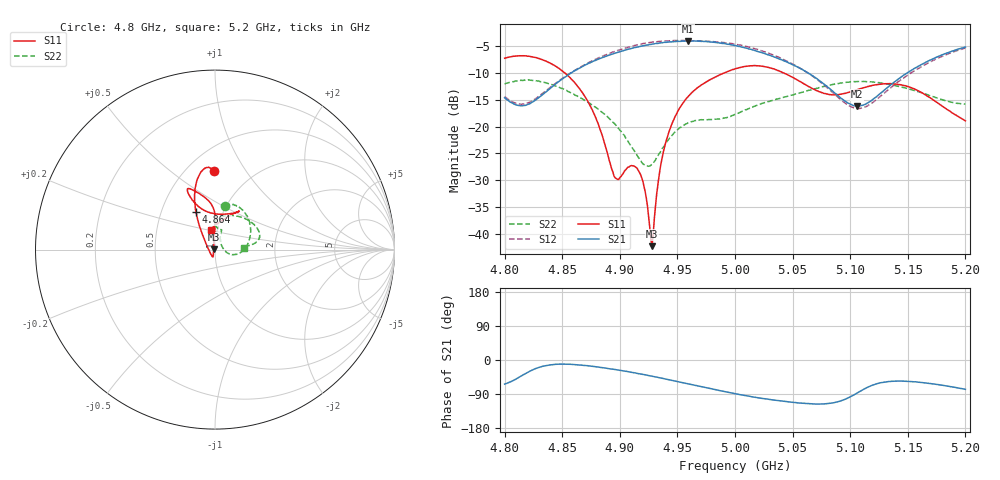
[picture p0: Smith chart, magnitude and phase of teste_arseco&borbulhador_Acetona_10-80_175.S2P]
! Network Analyzer HP8722D
! Hewlett-Packard
! Data name: Linha & Wilkinson
! Saver's name: Rodrigo Anjos
! Comments: Teste da utilização de aquisição
! continua pelo VNA HP8722D
! Time and date: 25/4/2025 16:43
!  Frequency  S11  S21  S12  S22
# HZ  S  MA R 50
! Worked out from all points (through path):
!   401 points, 4.8 GHz to 5.2 GHz, reference 50 ohm
!   highest |S21| = -3.98 dB at 4.959 GHz (marker M1); lowest = -16.2 dB at 5.106 GHz (marker M2)
!   lowest |S11| = -42.4 dB at 4.928 GHz (marker M3), VSWR 1.02, Z = 49.2 + j0.0889 ohm
!   |S11| at or under -10 dB: 4.852 GHz to 4.99 GHz (137.7 MHz wide, 2.8 % of centre); 5.043 GHz to end of sweep
!   |S22| runs from -27.4 to -11.2 dB; largest |S21 - S12| = 1.2
!   S11 on the Smith chart (normalised r, x): 4.8 GHz: 0.67, +0.72; 4.864 GHz: 0.75, +0.33; 5.2 GHz: 0.93, +0.21
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4.8e9  0.4357 90.9  0.1858 -63.7  0.1908 69.6  0.2492 77.3
4.82e9  0.4547 97.2  0.1612 -32.4  0.1664 98.2  0.2712 61.6
4.845e9  0.3619 107.7  0.2541 -11.3  0.2573 119.4  0.238 34.5
4.864e9  0.2341 117.0  0.3479 -12.6  0.3513 121.1  0.1901 12.3
4.867e9  0.2114 118.7  0.3616 -13.7  0.3664 120.8  0.1832 8.8
4.88e9  0.1144 128.7  0.4211 -18.2  0.4309 118.3  0.1488 -4.9
4.896e9  0.03317 -170.0  0.487 -25.0  0.5049 113.4  0.105 -15.2
4.91e9  0.04324 -108.5  0.5379 -32.3  0.5622 107.3  0.06536 -13.3
4.917e9  0.03721 -105.8  0.5591 -36.2  0.5872 103.7  0.05021 -0.6
4.921e9  0.02771 -109.3  0.5717 -38.6  0.5991 101.5  0.04419 12.4
4.926e9  0.01146 -134.9  0.5855 -41.7  0.6107 98.5  0.04284 32.7
4.928e9  0.007629 173.2  0.5897 -42.8  0.6159 97.2  0.04472 40.7
4.934e9  0.03419 100.4  0.6024 -46.6  0.6263 93.4  0.05552 57.2
4.944e9  0.09795 91.1  0.6207 -52.8  0.634 87.1  0.07988 68.4
4.959e9  0.1895 89.8  0.6326 -62.7  0.6367 77.3  0.1081 70.8
5e9  0.3469 109.3  0.5724 -88.9  0.5912 50.9  0.13 88.2
5.029e9  0.3578 115.2  0.4689 -103.6  0.4865 34.2  0.1713 85.8
5.067e9  0.2273 105.7  0.3009 -115.7  0.2983 23.7  0.2214 57.3
5.106e9  0.2213 65.5  0.1555 -87.1  0.1478 55.8  0.2639 24.9
5.134e9  0.2519 58.0  0.2405 -56.7  0.2255 88.7  0.248 12.5
5.168e9  0.1901 69.8  0.4118 -61.7  0.3955 85.4  0.1966 7.0
5.2e9  0.1133 100.9  0.554 -77.4  0.5429 70.3  0.1623 3.8
